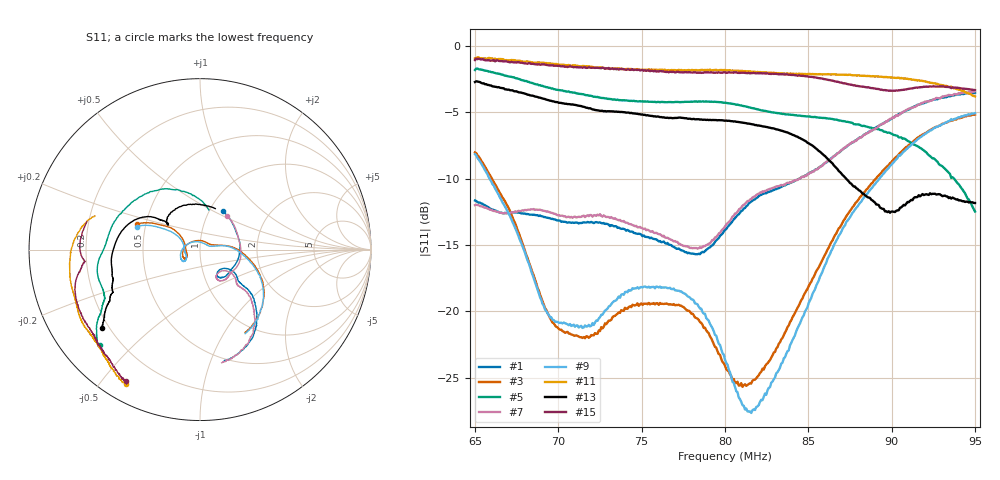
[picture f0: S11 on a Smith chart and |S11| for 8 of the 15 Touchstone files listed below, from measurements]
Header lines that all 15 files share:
! NanoVNA-App
! Start: 65MHz Stop: 95MHz Points: 401
! S-Parameter data: F S11
# Hz S RI R 50
!  Frequency  S11_Real  S11_Imag
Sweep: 65 MHz to 95 MHz
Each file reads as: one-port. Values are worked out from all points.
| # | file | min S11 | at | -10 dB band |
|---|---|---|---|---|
| 1 | SD68_400_10.s1p | -15.7 dB | 78.35 MHz | over 19.5 MHz wide |
| 2 | SD68_400_15.s1p | -25.5 dB | 78.58 MHz | over 22 MHz wide |
| 3 | SD68_400_20.s1p | -25.7 dB | 81.05 MHz | 23.04 MHz wide |
| 4 | SD68_400_25.s1p | -17.0 dB | 84.95 MHz | 21.96 MHz wide |
| 5 | SD68_400_35.s1p | -12.5 dB | 95 MHz | over 1.254 MHz wide |
| 6 | SD68_405_0.s1p | -11.9 dB | 77.97 MHz | 8.159 MHz wide |
| 7 | SD68_405_5.s1p | -15.3 dB | 78.35 MHz | over 19.49 MHz wide |
| 8 | SD68_405_10.s1p | -24.2 dB | 78.65 MHz | over 21.98 MHz wide |
| 9 | SD68_405_15.s1p | -27.6 dB | 81.58 MHz | 23.39 MHz wide |
| 10 | SD68_405_20.s1p | -17.6 dB | 84.42 MHz | 22.22 MHz wide |
| 11 | SD68_405_40.s1p | -3.8 dB | 95 MHz | - |
| 12 | SD68_425_0.s1p | -20.1 dB | 83.53 MHz | 26.02 MHz wide |
| 13 | SD68_425_10.s1p | -12.6 dB | 89.9 MHz | over 7.732 MHz wide |
| 14 | SD68_425_20.s1p | -3.1 dB | 89.9 MHz | - |
| 15 | SD68_445_0.s1p | -3.4 dB | 90.05 MHz | - |
